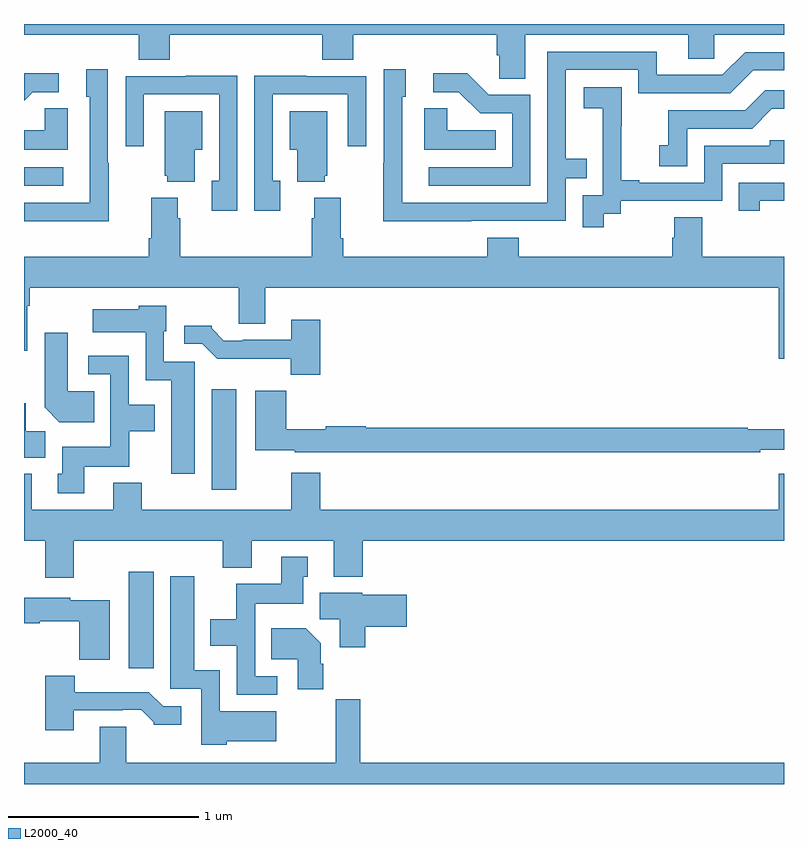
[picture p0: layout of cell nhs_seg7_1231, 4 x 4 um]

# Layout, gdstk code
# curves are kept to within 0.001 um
import gdstk
lib = gdstk.Library(unit=1e-6, precision=1e-09)
def R(c, l, rs):  # rectangles x0, y0, x1, y1
    for r in rs: c.add(gdstk.rectangle(r[:2], r[2:], *l))
def P(c, l, *ps):  # polygons
    for p in ps: c.add(gdstk.Polygon(p, *l))
L2000_40 = (2000, 40)

nhs_seg7_1231 = lib.new_cell('nhs_seg7_1231')
R(nhs_seg7_1231, L2000_40, [(197.552,1002.609,197.683,1003.117), (197.987,1003.548,198.118,1004.077), (197,1005.15,197.206,1005.246)])
P(nhs_seg7_1231, L2000_40, [(199.639,1005.944),(200.495,1005.944),(200.495,1005.817),(200.634,1005.817),(200.634,1005.944),(201,1005.944),(201,1006),(197,1006),(197,1005.944),(197.603,1005.944),(197.603,1005.811),(197.768,1005.811),(197.768,1005.944),(198.569,1005.944),(198.569,1005.811),(198.734,1005.811),(198.734,1005.944),(199.487,1005.944),(199.487,1005.835),(199.5,1005.835),(199.5,1005.712),(199.639,1005.712)],
  [(199.355,1004.964),(199.851,1004.964),(199.851,1005.189),(199.961,1005.189),(199.961,1005.29),(199.851,1005.29),(199.851,1005.759),(200.232,1005.759),(200.232,1005.636),(200.718,1005.636),(200.838,1005.756),(201,1005.756),(201,1005.852),(200.796,1005.852),(200.676,1005.732),(200.329,1005.732),(200.329,1005.855),(199.755,1005.855),(199.755,1005.06),(198.99,1005.06),(198.99,1005.618),(199.009,1005.618),(199.009,1005.763),(198.894,1005.763),(198.894,1005.269),(198.892,1005.269),(198.892,1004.963)],
  [(197.445,1005.269),(197.442,1005.269),(197.442,1005.763),(197.327,1005.763),(197.327,1005.618),(197.346,1005.618),(197.346,1005.06),(197,1005.06),(197,1004.963),(197.445,1004.963)],
  [(197.047,1005.642),(197.182,1005.642),(197.182,1005.74),(197.003,1005.74),(197,1005.737),(197,1005.595)],
  [(199.665,1005.627),(199.446,1005.627),(199.333,1005.74),(199.155,1005.74),(199.155,1005.642),(199.289,1005.642),(199.4,1005.531),(199.569,1005.531),(199.569,1005.246),(199.131,1005.246),(199.131,1005.15),(199.665,1005.15)],
  [(198.349,1005.174),(198.309,1005.174),(198.309,1005.63),(198.705,1005.63),(198.705,1005.357),(198.801,1005.357),(198.801,1005.726),(198.485,1005.726),(198.485,1005.728),(198.213,1005.728),(198.213,1005.018),(198.349,1005.018)],
  [(198.123,1005.728),(197.851,1005.728),(197.851,1005.726),(197.535,1005.726),(197.535,1005.357),(197.631,1005.357),(197.631,1005.63),(198.027,1005.63),(198.027,1005.174),(197.987,1005.174),(197.987,1005.018),(198.123,1005.018)],
  [(200.05,1005.001),(200.142,1005.001),(200.142,1005.069),(200.676,1005.069),(200.676,1005.264),(201,1005.264),(201,1005.387),(200.925,1005.387),(200.925,1005.36),(200.58,1005.36),(200.58,1005.165),(200.239,1005.165),(200.239,1005.178),(200.144,1005.178),(200.144,1005.461),(200.145,1005.461),(200.145,1005.667),(199.947,1005.667),(199.947,1005.557),(200.045,1005.557),(200.045,1005.329),(200.046,1005.329),(200.046,1005.099),(199.941,1005.099),(199.941,1004.931),(200.05,1004.931)],
  [(200.49,1005.45),(200.832,1005.45),(200.936,1005.554),(201,1005.554),(201,1005.651),(200.9,1005.651),(200.795,1005.546),(200.392,1005.546),(200.392,1005.361),(200.343,1005.361),(200.343,1005.252),(200.49,1005.252)],
  [(197.23,1005.557),(197.109,1005.557),(197.109,1005.442),(197,1005.442),(197,1005.338),(197.23,1005.338)],
  [(199.484,1005.442),(199.227,1005.442),(199.227,1005.557),(199.106,1005.557),(199.106,1005.338),(199.484,1005.338)],
  [(197.899,1005.338),(197.938,1005.338),(197.938,1005.541),(197.741,1005.541),(197.741,1005.201),(197.753,1005.201),(197.753,1005.17),(197.899,1005.17)],
  [(198.584,1005.201),(198.595,1005.201),(198.595,1005.541),(198.398,1005.541),(198.398,1005.338),(198.437,1005.338),(198.437,1005.17),(198.584,1005.17)],
  [(200.872,1005.069),(201,1005.069),(201,1005.165),(200.761,1005.165),(200.761,1005.018),(200.872,1005.018)],
  [(201,1004.776),(200.571,1004.776),(200.571,1004.984),(200.423,1004.984),(200.423,1004.874),(200.411,1004.874),(200.411,1004.776),(199.604,1004.776),(199.604,1004.875),(199.439,1004.875),(199.439,1004.776),(198.68,1004.776),(198.68,1004.872),(198.667,1004.872),(198.667,1005.085),(198.527,1005.085),(198.527,1004.978),(198.515,1004.978),(198.515,1004.776),(197.822,1004.776),(197.822,1004.978),(197.809,1004.978),(197.809,1005.085),(197.669,1005.085),(197.669,1004.872),(197.657,1004.872),(197.657,1004.776),(197,1004.776),(197,1004.28),(197.016,1004.28),(197.016,1004.516),(197.029,1004.516),(197.029,1004.612),(198.131,1004.612),(198.131,1004.422),(198.271,1004.422),(198.271,1004.612),(200.972,1004.612),(200.972,1004.238),(201,1004.238)],
  [(197.899,1004.223),(197.736,1004.223),(197.736,1004.382),(197.749,1004.382),(197.749,1004.518),(197.604,1004.518),(197.604,1004.5),(197.361,1004.5),(197.361,1004.378),(197.64,1004.378),(197.64,1004.126),(197.774,1004.126),(197.774,1003.632),(197.899,1003.632)],
  [(198.56,1004.443),(198.407,1004.443),(198.407,1004.337),(198.151,1004.337),(198.151,1004.334),(198.052,1004.334),(197.988,1004.398),(197.988,1004.413),(197.844,1004.413),(197.844,1004.316),(197.937,1004.316),(198.016,1004.238),(198.405,1004.238),(198.405,1004.153),(198.56,1004.153)],
  [(197.369,1004.068),(197.23,1004.068),(197.23,1004.374),(197.108,1004.374),(197.108,1003.982),(197.186,1003.904),(197.369,1003.904)],
  [(197.317,1003.67),(197.553,1003.67),(197.553,1003.856),(197.689,1003.856),(197.689,1003.996),(197.55,1003.996),(197.55,1004.253),(197.337,1004.253),(197.337,1004.157),(197.454,1004.157),(197.454,1003.774),(197.201,1003.774),(197.201,1003.632),(197.177,1003.632),(197.177,1003.53),(197.317,1003.53)],
  [(198.698,1003.746),(200.876,1003.746),(200.876,1003.758),(201,1003.758),(201,1003.867),(200.809,1003.867),(200.809,1003.874),(198.798,1003.874),(198.798,1003.882),(198.588,1003.882),(198.588,1003.867),(198.38,1003.867),(198.38,1004.071),(198.218,1004.071),(198.218,1003.757),(198.426,1003.757),(198.426,1003.745),(198.698,1003.745)],
  [(197.113,1003.856),(197.008,1003.856),(197.008,1004.005),(197,1004.005),(197,1003.718),(197.113,1003.718)],
  [(197.263,1003.28),(198.047,1003.28),(198.047,1003.139),(198.199,1003.139),(198.199,1003.28),(198.629,1003.28),(198.629,1003.091),(198.782,1003.091),(198.782,1003.28),(201,1003.28),(201,1003.633),(200.972,1003.633),(200.972,1003.444),(198.56,1003.444),(198.56,1003.639),(198.407,1003.639),(198.407,1003.444),(197.619,1003.444),(197.619,1003.585),(197.471,1003.585),(197.471,1003.444),(197.041,1003.444),(197.041,1003.633),(197,1003.633),(197,1003.28),(197.111,1003.28),(197.111,1003.086),(197.263,1003.086)],
  [(198.334,1002.567),(198.216,1002.567),(198.216,1002.95),(198.469,1002.95),(198.469,1003.092),(198.493,1003.092),(198.493,1003.195),(198.353,1003.195),(198.353,1003.054),(198.118,1003.054),(198.118,1002.868),(197.981,1002.868),(197.981,1002.728),(198.12,1002.728),(198.12,1002.471),(198.334,1002.471)],
  [(198.066,1002.224),(198.328,1002.224),(198.328,1002.382),(198.03,1002.382),(198.03,1002.598),(197.896,1002.598),(197.896,1003.093),(197.771,1003.093),(197.771,1002.501),(197.934,1002.501),(197.934,1002.206),(198.066,1002.206)],
  [(198.797,1002.827),(199.015,1002.827),(199.015,1002.997),(198.78,1002.997),(198.78,1003.006),(198.557,1003.006),(198.557,1002.868),(198.662,1002.868),(198.662,1002.72),(198.797,1002.72)],
  [(197.452,1002.967),(197.244,1002.967),(197.244,1002.979),(197,1002.979),(197,1002.845),(197.082,1002.845),(197.082,1002.857),(197.29,1002.857),(197.29,1002.653),(197.452,1002.653)],
  [(198.575,1002.632),(198.562,1002.632),(198.562,1002.742),(198.484,1002.82),(198.301,1002.82),(198.301,1002.656),(198.44,1002.656),(198.44,1002.498),(198.575,1002.498)],
  [(197.263,1002.387),(197.519,1002.387),(197.519,1002.39),(197.618,1002.39),(197.682,1002.326),(197.682,1002.311),(197.827,1002.311),(197.827,1002.408),(197.733,1002.408),(197.657,1002.484),(197.266,1002.484),(197.266,1002.571),(197.111,1002.571),(197.111,1002.282),(197.263,1002.282)],
  [(201,1002.112),(198.77,1002.112),(198.77,1002.445),(198.642,1002.445),(198.642,1002.112),(197.539,1002.112),(197.539,1002.302),(197.399,1002.302),(197.399,1002.112),(197,1002.112),(197,1002),(201,1002)])

lib.write_gds('nhs_seg7_1231.gds')
